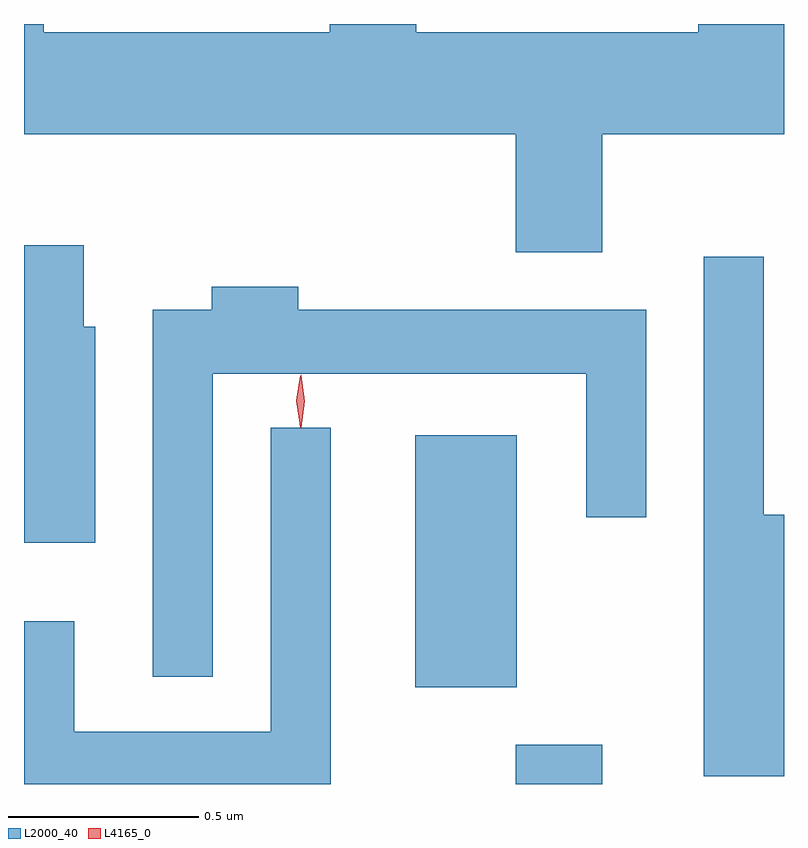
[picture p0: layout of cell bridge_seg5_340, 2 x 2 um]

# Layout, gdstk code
import gdstk
lib = gdstk.Library(unit=1e-6, precision=1e-09)
def R(c, l, rs):  # rectangles x0, y0, x1, y1
    for r in rs: c.add(gdstk.rectangle(r[:2], r[2:], *l))
def P(c, l, *ps):  # polygons
    for p in ps: c.add(gdstk.Polygon(p, *l))
L2000_40 = (2000, 40)
L4165_0 = (4165, 0)

bridge_seg5_340 = lib.new_cell('bridge_seg5_340')
R(bridge_seg5_340, L2000_40, [(698.371,1515.026,698.599,1515.129), (698.106,1515.281,698.374,1515.944)])
P(bridge_seg5_340, L2000_40, [(697.077,1517.026),(697.077,1516.736),(698.371,1516.736),(698.371,1516.426),(698.599,1516.426),(698.599,1516.736),(699.077,1516.736),(699.077,1517.026),(698.851,1517.026),(698.851,1517.004),(698.109,1517.004),(698.109,1517.026),(697.881,1517.026),(697.881,1517.004),(697.129,1517.004),(697.129,1517.026)],
  [(697.264,1516.229),(697.234,1516.229),(697.234,1516.444),(697.077,1516.444),(697.077,1515.661),(697.264,1515.661)],
  [(699.077,1515.734),(699.024,1515.734),(699.024,1516.413),(698.866,1516.413),(698.866,1515.046),(699.077,1515.046)],
  [(697.574,1516.106),(698.556,1516.106),(698.556,1515.728),(698.714,1515.728),(698.714,1516.274),(697.799,1516.274),(697.799,1516.334),(697.571,1516.334),(697.571,1516.274),(697.416,1516.274),(697.416,1515.308),(697.574,1515.308)],
  [(697.884,1515.963),(697.726,1515.963),(697.726,1515.164),(697.209,1515.164),(697.209,1515.454),(697.077,1515.454),(697.077,1515.026),(697.884,1515.026)])
P(bridge_seg5_340, L4165_0, [(697.804,1515.964),(697.796,1516.033),(697.806,1516.102),(697.806,1516.103),(697.806,1516.102),(697.816,1516.033),(697.806,1515.964),(697.805,1515.964)],
  [(697.804,1515.967),(697.804,1515.967),(697.794,1516.034),(697.804,1516.1),(697.804,1516.101),(697.805,1516.1),(697.814,1516.034),(697.805,1515.967)])

lib.write_gds('bridge_seg5_340.gds')
